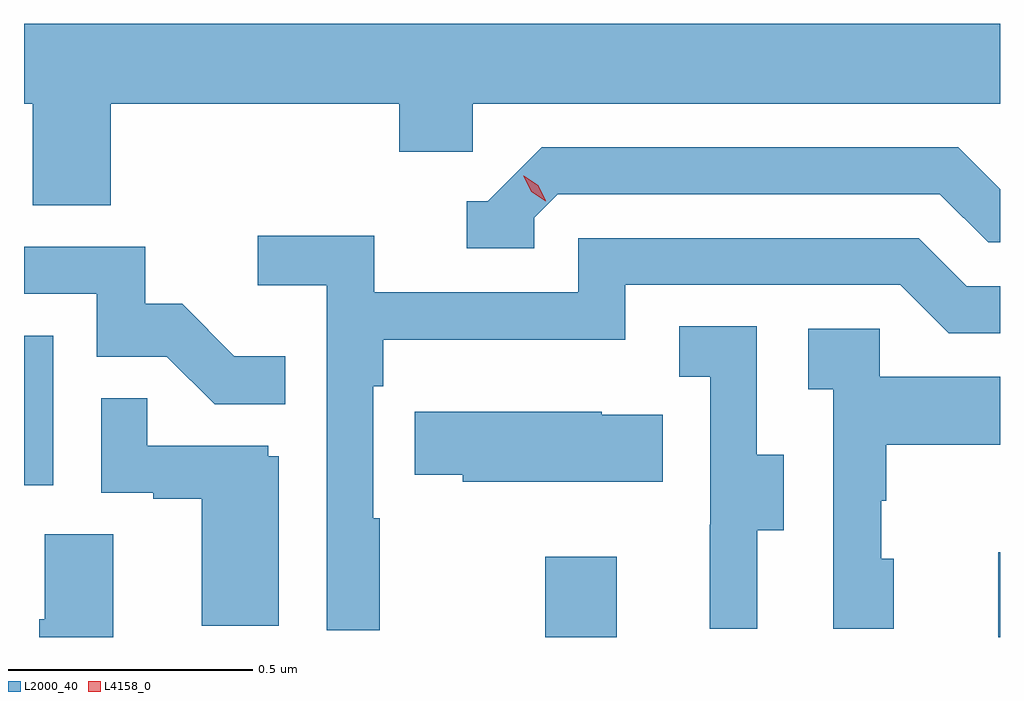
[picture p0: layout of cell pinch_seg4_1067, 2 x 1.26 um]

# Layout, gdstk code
import gdstk
lib = gdstk.Library(unit=1e-6, precision=1e-09)
def R(c, l, rs):  # rectangles x0, y0, x1, y1
    for r in rs: c.add(gdstk.rectangle(r[:2], r[2:], *l))
def P(c, l, *ps):  # polygons
    for p in ps: c.add(gdstk.Polygon(p, *l))
L2000_40 = (2000, 40)
L4158_0 = (4158, 0)

pinch_seg4_1067 = lib.new_cell('pinch_seg4_1067')
R(pinch_seg4_1067, L2000_40, [(804.52,758.431,804.667,758.596), (805.448,758.431,805.452,758.605), (803.452,758.742,803.512,759.049)])
P(pinch_seg4_1067, L2000_40, [(803.63,759.524),(804.221,759.524),(804.221,759.426),(804.372,759.426),(804.372,759.524),(805.452,759.524),(805.452,759.688),(803.452,759.688),(803.452,759.524),(803.47,759.524),(803.47,759.316),(803.63,759.316)],
  [(804.498,759.291),(804.546,759.339),(805.329,759.339),(805.428,759.24),(805.452,759.24),(805.452,759.349),(805.366,759.435),(804.513,759.435),(804.402,759.324),(804.359,759.324),(804.359,759.228),(804.498,759.228)],
  [(804.181,758.675),(804.168,758.675),(804.168,758.945),(804.188,758.945),(804.188,759.041),(804.684,759.041),(804.684,759.153),(805.248,759.153),(805.347,759.054),(805.452,759.054),(805.452,759.15),(805.384,759.15),(805.285,759.249),(804.588,759.249),(804.588,759.138),(804.17,759.138),(804.17,759.254),(803.931,759.254),(803.931,759.152),(804.072,759.152),(804.072,758.445),(804.181,758.445)],
  [(803.987,759.007),(803.883,759.007),(803.776,759.114),(803.7,759.114),(803.7,759.231),(803.452,759.231),(803.452,759.135),(803.601,759.135),(803.601,759.006),(803.745,759.006),(803.843,758.908),(803.987,758.908)],
  [(804.955,758.65),(805.009,758.65),(805.009,758.805),(804.954,758.805),(804.954,759.068),(804.795,759.068),(804.795,758.965),(804.858,758.965),(804.858,758.661),(804.857,758.661),(804.857,758.448),(804.955,758.448)],
  [(805.234,758.592),(805.209,758.592),(805.209,758.711),(805.219,758.711),(805.219,758.825),(805.452,758.825),(805.452,758.965),(805.206,758.965),(805.206,759.063),(805.059,759.063),(805.059,758.939),(805.11,758.939),(805.11,758.448),(805.234,758.448)],
  [(803.974,758.802),(803.952,758.802),(803.952,758.823),(803.705,758.823),(803.705,758.921),(803.61,758.921),(803.61,758.727),(803.717,758.727),(803.717,758.715),(803.816,758.715),(803.816,758.454),(803.974,758.454)],
  [(804.761,758.887),(804.636,758.887),(804.636,758.893),(804.253,758.893),(804.253,758.764),(804.351,758.764),(804.351,758.75),(804.761,758.75)],
  [(803.635,758.642),(803.495,758.642),(803.495,758.468),(803.483,758.468),(803.483,758.431),(803.635,758.431)])
P(pinch_seg4_1067, L4158_0, [(804.521,759.324),(804.491,759.344),(804.475,759.377),(804.475,759.377),(804.476,759.377),(804.506,759.357),(804.521,759.325),(804.521,759.324)])

lib.write_gds('pinch_seg4_1067.gds')
